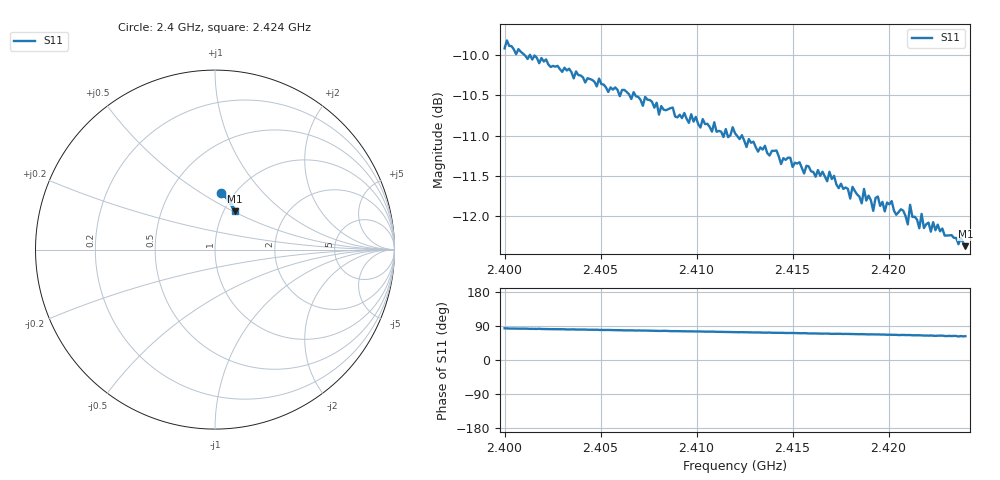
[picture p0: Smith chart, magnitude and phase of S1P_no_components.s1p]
!File created by NanoVNA
# Hz S RI R 50
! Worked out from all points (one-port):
!   201 points, 2.4 GHz to 2.424 GHz, reference 50 ohm
!   lowest |S11| = -12.4 dB at 2.424 GHz (marker M1), VSWR 1.63, Z = 56.1 + j25.6 ohm
!   |S11| at or under -10 dB: 2.401044 GHz to 2.401309 GHz (265.5 kHz wide, 0.0111 % of centre); 2.40133 GHz to end of sweep
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2.4e9  0.0353 0.3174
2.40012e9  0.0366 0.3208
2.4006e9  0.0388 0.3143
2.403e9  0.0474 0.3051
2.40492e9  0.056 0.3006
2.406e9  0.0581 0.2925
2.40672e9  0.0628 0.2933
2.4072e9  0.0619 0.2876
2.409e9  0.0693 0.2809
2.412e9  0.0804 0.2712
2.415e9  0.0865 0.2553
2.4168e9  0.0917 0.2477
2.41692e9  0.0945 0.2505
2.418e9  0.0939 0.24
2.41812e9  0.0962 0.2437
2.4186e9  0.0951 0.2376
2.41872e9  0.0976 0.2423
2.4192e9  0.0965 0.2341
2.41944e9  0.1001 0.2383
2.4198e9  0.0987 0.233
2.42016e9  0.1025 0.2354
2.421e9  0.1021 0.2264
2.42112e9  0.1046 0.233
2.4216e9  0.1034 0.2243
2.42172e9  0.1065 0.2285
2.42184e9  0.1065 0.2229
2.42232e9  0.1084 0.2243
2.424e9  0.1095 0.2144
